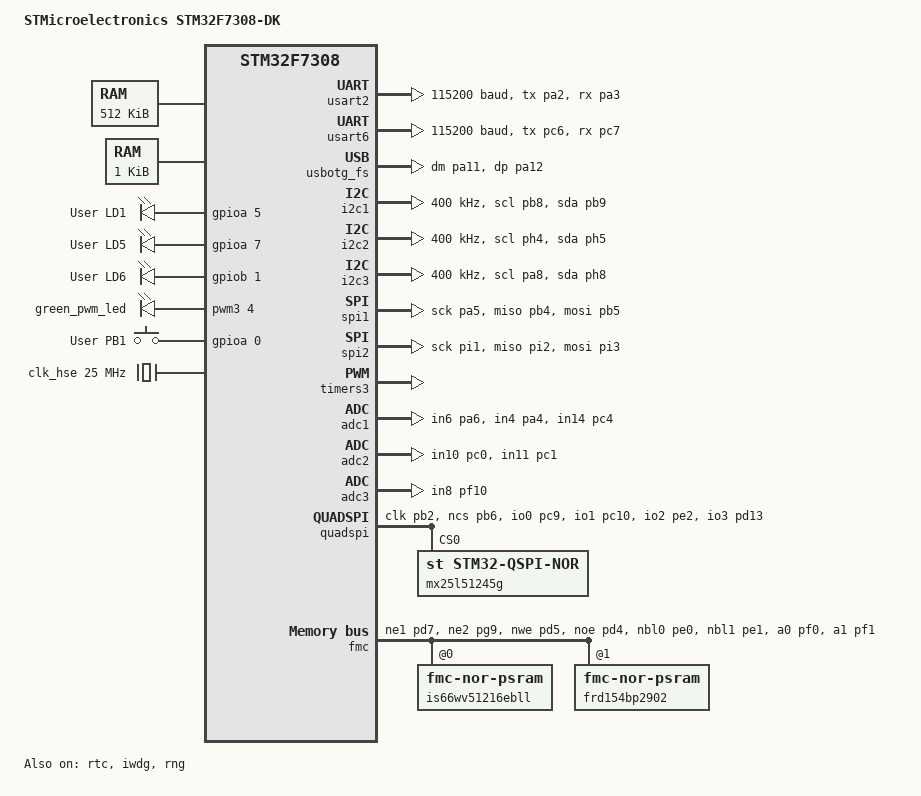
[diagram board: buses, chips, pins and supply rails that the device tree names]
/*
 * Copyright (c) 2023 TiaC Systems
 * SPDX-License-Identifier: Apache-2.0
 */

/dts-v1/;
#include <st/f7/stm32f730X8.dtsi>
#include <st/f7/stm32f730i8kx-pinctrl.dtsi>
#include <zephyr/dt-bindings/adc/adc.h>
#include <zephyr/dt-bindings/memory-attr/memory-attr.h>
#include <zephyr/dt-bindings/memory-attr/memory-attr-arm.h>
#include <zephyr/dt-bindings/input/input-event-codes.h>
#include <mem.h>
#include <freq.h>

/ {
	model = "STMicroelectronics STM32F7308-DK";
	compatible = "st,stm32f7308-dk";

	chosen {
		zephyr,console = &usart6;
		zephyr,shell-uart = &usart6;
		zephyr,usb-device = &usbotg_fs;
		zephyr,sram = &sram0;
		zephyr,flash = &flash0;
		zephyr,dtcm = &dtcm;
		zephyr,flash-controller = &mx25l51245g;
	}; // chosen

	// These aliases are provided for compatibility
	// with samples and tests.
	aliases {
		led0 = &blue_led;
		led1 = &red_led;
		led2 = &green_led;
		pwm-led0 = &green_pwm_led;
		sw0 = &user_button;
		spi-flash0 = &mx25l51245g;
	}; // aliases

	psram: memory@60000000 { /* FMC_NORSRAM_BANK1 */
		compatible = "zephyr,memory-region", "mmio-sram";
		device_type = "memory";
		reg = <0x60000000 DT_SIZE_K(512)>;
		zephyr,memory-region = "PSRAM";
		zephyr,memory-attr = <( DT_MEM_ARM(ATTR_MPU_RAM) )>;
	}; // psram

	lcdio: memory@64000000 { /* FMC_NORSRAM_BANK2 */
		compatible = "zephyr,memory-region", "mmio-sram";
		device_type = "memory";
		reg = <0x64000000 DT_SIZE_K(1)>;
		zephyr,memory-region = "LCDIO";
		zephyr,memory-attr = <( DT_MEM_ARM(ATTR_MPU_IO) )>;
	}; // lcdio

	leds {
		compatible = "gpio-leds";
		blue_led: blue_led {		/* ARD_D13_SPI1_SCK */
			gpios = <&gpioa 5 GPIO_ACTIVE_HIGH>;
			label = "User LD1";
		}; // blue_led
		red_led: red_led {		/* SYS_LD_USER1 */
			gpios = <&gpioa 7 GPIO_ACTIVE_HIGH>;
			label = "User LD5";
		}; // red_led
		green_led: green_led {		/* SYS_LD_USER2 */
			gpios = <&gpiob 1 GPIO_ACTIVE_HIGH>;
			label = "User LD6";
		}; // green_led
	}; // leds

	pwmleds {
		compatible = "pwm-leds";
		green_pwm_led: green_pwm_led {	/* SYS_LD_USER2 */
			pwms = <&pwm3 4 PWM_MSEC(20) PWM_POLARITY_NORMAL>;
		}; // green_pwm_led
	}; // pwmleds

	gpio_keys {
		compatible = "gpio-keys";
		user_button: user_button {	/* SYS_B_USER */
			gpios = <&gpioa 0 GPIO_ACTIVE_HIGH>;
			zephyr,code = <INPUT_KEY_0>;
			label = "User PB1";
		}; // user_button
	}; // gpio_keys
};

&clk_hse {
	clock-frequency = <DT_FREQ_M(25)>;
	status = "okay";
}; // clk_hse

&pll {
	div-m = <25>;
	mul-n = <432>;
	div-p = <2>;
	div-q = <9>;
	clocks = <&clk_hse>;
	status = "okay";
}; // pll

&rcc {
	clocks = <&pll>;
	clock-frequency = <DT_FREQ_M(216)>;
	ahb-prescaler = <1>;
	apb1-prescaler = <4>;
	apb2-prescaler = <2>;
}; // rcc

&clk_lsi {
	status = "okay";
}; // clk_lsi

&rtc {
	clocks = <&rcc STM32_CLOCK_BUS_APB1 0x10000000>,
		 <&rcc STM32_SRC_LSI RTC_SEL(2)>;
	status = "okay";
}; // rtc

&iwdg {
	status = "okay";
}; // iwdg

&rng {
	status = "okay";
}; // rng

&usart2 {
	status = "okay";		/* Arduino UART serial interface */
	pinctrl-names = "default";
	pinctrl-0 = <&usart2_tx_pa2	/* ARD_D1_USART2_TX */
		     &usart2_rx_pa3>;	/* ARD_D0_USART2_RX */
	current-speed = <115200>;
}; // usart2

&usart6 {
	status = "okay";		/* default system UART console */
	pinctrl-names = "default";
	pinctrl-0 = <&usart6_tx_pc6	/* VCP_TX_STLINK_RX */
		     &usart6_rx_pc7>;	/* VCP_RX_STLINK_TX */
	current-speed = <115200>;
}; // usart6

zephyr_udc0: &usbotg_fs {
	status = "okay";
	pinctrl-names = "default";
	pinctrl-0 = <&usb_otg_fs_dm_pa11	/* USB_OTGFS_N */
		     &usb_otg_fs_dp_pa12>;	/* USB_OTGFS_P */
}; // usbotg_fs

&usbotg_hs {
	status = "disabled";
	pinctrl-names = "default";
	pinctrl-0 = <&usb_otg_hs_dm_pb14	/* USB_OTGHS_N */
		     &usb_otg_hs_dp_pb15>;	/* USB_OTGHS_P */
	/*
	 * As long as USB 2.0 HS is not yet supported by this board
	 * and this node remains deactivated the maximum speed have
	 * to reduced from high to full speed, because otherwise the
	 * Kconfig symbol USB_DC_HAS_HS_SUPPORT would be set to true
	 * on USB_DC_STM32 in zephyr/drivers/usb/device/Kconfig and
	 * as an follow-up error the bulk endpoint size would be set
	 * to 512 (HS) instead of 64 (FS).
	 */
	maximum-speed = "full-speed";
}; // usbotg_hs

&i2c1 {
	status = "okay";		/* default system I2C */
	pinctrl-names = "default";
	pinctrl-0 = <&i2c1_scl_pb8	/* SAI2_I2C1_SCL */
		     &i2c1_sda_pb9>;	/* SAI2_I2C1_SDA */
	clock-frequency = <I2C_BITRATE_FAST>;
}; // i2c1

&i2c2 {
	status = "okay";		/* Arduino I2C interface */
	pinctrl-names = "default";
	pinctrl-0 = <&i2c2_scl_ph4	/* ARD_D15_STMOD+_I2C2_SCL */
		     &i2c2_sda_ph5>;	/* ARD_D14_STMOD+_I2C2_SDA */
	clock-frequency = <I2C_BITRATE_FAST>;
}; // i2c2

&i2c3 {
	status = "okay";		/* Control Touch Panel I2C interface */
	pinctrl-names = "default";
	pinctrl-0 = <&i2c3_scl_pa8	/* CTP_SCL */
		     &i2c3_sda_ph8>;	/* CTP_SDA */
	clock-frequency = <I2C_BITRATE_FAST>;
}; // i2c3

&spi1 {
	status = "okay";		/* Arduino SPI interface */
	pinctrl-names = "default";
	pinctrl-0 = <&spi1_sck_pa5	/* ARD_D13_SPI1_SCK */
		     &spi1_miso_pb4	/* ARD_D12_SPI1_MISO */
		     &spi1_mosi_pb5>;	/* ARD_D11_TIM3_CH2_SPI1_MOSI */
					/* ARD_D10_TIM2_CH2_SPI1_NSS */
	cs-gpios = <&gpioa 1 (GPIO_ACTIVE_LOW | GPIO_PULL_UP)>;
}; // spi1

&spi2 {
	status = "okay";		/* Pmod/STMod+ SPI interface */
	pinctrl-names = "default";
	pinctrl-0 = <&spi2_sck_pi1	/* PMOD_SPI2_SCK */
		     &spi2_miso_pi2	/* PMOD_SPI2_MISO */
		     &spi2_mosi_pi3>;	/* PMOD_SPI2_MOSI */
					/* PMOD_SPI2_NSS */
	cs-gpios = <&gpioi 0 (GPIO_ACTIVE_LOW | GPIO_PULL_UP)>;
}; // spi2

&timers3 {
	status = "okay";
	st,prescaler = <10000>;

	pwm3: pwm {
		status = "okay";
		pinctrl-names = "default";
		pinctrl-0 = <&tim3_ch4_pb1>;	/* SYS_LD_USER2 */
	}; // pwm3
}; // timers3

&adc1 {
	status = "okay";		/* Arduino ADC interface */
	pinctrl-names = "default";
	pinctrl-0 = <&adc1_in6_pa6	/* ARD_A0 */
		     &adc1_in4_pa4	/* ARD_A1 */
		     &adc1_in14_pc4>;	/* ARD_A2 */
	st,adc-clock-source = <SYNC>;	/* derived from the bus clock */
	st,adc-prescaler = <2>;
	vref-mv = <3300>;
}; // adc1

&adc2 {
	status = "okay";
	pinctrl-names = "default";
	pinctrl-0 = <&adc2_in10_pc0	/* ARD_A4 */
		     &adc2_in11_pc1>;	/* ARD_A5 */
	st,adc-clock-source = <SYNC>;	/* derived from the bus clock */
	st,adc-prescaler = <2>;
	vref-mv = <3300>;
}; // adc2

&adc3 {
	status = "okay";
	pinctrl-names = "default";
	pinctrl-0 = <&adc3_in8_pf10>;	/* ARD_A3_ADC3_IN8 */
	st,adc-clock-source = <SYNC>;	/* derived from the bus clock */
	st,adc-prescaler = <2>;
	vref-mv = <3300>;
}; // adc3

&quadspi {
	status = "okay";
	pinctrl-names = "default";
	pinctrl-0 =
		<&quadspi_clk_pb2	/* QSPI_CLK */
		 &quadspi_bk1_ncs_pb6	/* QSPI_NCS */
		 &quadspi_bk1_io0_pc9	/* QSPI_D0 */
		 &quadspi_bk1_io1_pc10	/* QSPI_D1 */
		 &quadspi_bk1_io2_pe2	/* QSPI_D2 */
		 &quadspi_bk1_io3_pd13>;/* QSPI_D3 */

	flash-id = <1>;

	mx25l51245g: qspi-nor-flash@0 {
		compatible = "st,stm32-qspi-nor";
		reg = <0>;
		qspi-max-frequency = <DT_FREQ_M(72)>;
		size = <DT_SIZE_M(64*8)>;
		status = "okay";

		spi-bus-width = <4>;	/* quad data SPI line: SIO[0123] used */
		writeoc = "PP_1_4_4";	/* quad data SPI line: PP 1-4-4, 0x38 */

		/* reset-cmd;		reset command on initialization */
		/* reset-cmd-wait = <10>;	... for about 10 us */
	}; // mx25l51245g
}; // quadspi

&fmc {
	status = "okay";
	pinctrl-names = "default";
	pinctrl-0 =
		<&fmc_ne1_pd7		/* PSRAM_NE1 - nCS1 (CS2) */
		 &fmc_ne2_pg9		/* LCD_NE - nCS */
		 &fmc_nwe_pd5		/* LCD_PSRAM_NWE - LCD:nWR/PSRAM:nWE */
		 &fmc_noe_pd4		/* LCD_PSRAM_NOE - LCD:nRD/PSRAM:nOE */
		 &fmc_nbl0_pe0		/* PSRAM_NBL0 - nLB */
		 &fmc_nbl1_pe1		/* PSRAM_NBL1 - nUB */
		 &fmc_a0_pf0		/* LCD-RS_A0 - LCD:RS/PSRAM_A0 - A0 */
		 &fmc_a1_pf1		/* PSRAM_A1 - A1 */
		 &fmc_a2_pf2		/* PSRAM_A2 - A2 */
		 &fmc_a3_pf3		/* PSRAM_A3 - A3 */
		 &fmc_a4_pf4		/* PSRAM_A4 - A4 */
		 &fmc_a5_pf5		/* PSRAM_A5 - A5 */
		 &fmc_a6_pf12		/* PSRAM_A6 - A6 */
		 &fmc_a7_pf13		/* PSRAM_A7 - A7 */
		 &fmc_a8_pf14		/* PSRAM_A8 - A8 */
		 &fmc_a9_pf15		/* PSRAM_A9 - A9 */
		 &fmc_a10_pg0		/* PSRAM_A10 - A10 */
		 &fmc_a11_pg1		/* PSRAM_A11 - A11 */
		 &fmc_a12_pg2		/* PSRAM_A12 - A12 */
		 &fmc_a13_pg3		/* PSRAM_A13 - A13 */
		 &fmc_a14_pg4		/* PSRAM_A14 - A14 */
		 &fmc_a15_pg5		/* PSRAM_A15 - A15 */
		 &fmc_a16_pd11		/* PSRAM_A16 - A16 */
		 &fmc_a17_pd12		/* PSRAM_A17 - A17 */
					/* GND - A18 */
		 &fmc_d0_pd14		/* LCD_PSRAM_D0 */
		 &fmc_d1_pd15		/* LCD_PSRAM_D1 */
		 &fmc_d2_pd0		/* LCD_PSRAM_D2 */
		 &fmc_d3_pd1		/* LCD_PSRAM_D3 */
		 &fmc_d4_pe7		/* LCD_PSRAM_D4 */
		 &fmc_d5_pe8		/* LCD_PSRAM_D5 */
		 &fmc_d6_pe9		/* LCD_PSRAM_D6 */
		 &fmc_d7_pe10		/* LCD_PSRAM_D7 */
		 &fmc_d8_pe11		/* LCD_PSRAM_D8 */
		 &fmc_d9_pe12		/* LCD_PSRAM_D9 */
		 &fmc_d10_pe13		/* LCD_PSRAM_D10 */
		 &fmc_d11_pe14		/* LCD_PSRAM_D11 */
		 &fmc_d12_pe15		/* LCD_PSRAM_D12 */
		 &fmc_d13_pd8		/* LCD_PSRAM_D13 */
		 &fmc_d14_pd9		/* LCD_PSRAM_D14 */
		 &fmc_d15_pd10>;	/* LCD_PSRAM_D15 */

	nor-psram {
		status = "okay";

		is66wv51216ebll: fmc-nor-psram@0 {
			reg = <0>; /* FMC_NORSRAM_BANK1 */
			st,control = <STM32_FMC_DATA_ADDRESS_MUX_DISABLE
				      STM32_FMC_MEMORY_TYPE_SRAM
				      /* STM32_FMC_MEMORY_TYPE_PSRAM */
				      STM32_FMC_NORSRAM_MEM_BUS_WIDTH_16
				      STM32_FMC_BURST_ACCESS_MODE_DISABLE
				      STM32_FMC_WAIT_SIGNAL_POLARITY_LOW
				      STM32_FMC_WAIT_TIMING_BEFORE_WS
				      STM32_FMC_WRITE_OPERATION_ENABLE
				      STM32_FMC_WAIT_SIGNAL_DISABLE
				      STM32_FMC_EXTENDED_MODE_DISABLE
				      STM32_FMC_ASYNCHRONOUS_WAIT_DISABLE
				      STM32_FMC_WRITE_BURST_DISABLE
				      STM32_FMC_CONTINUOUS_CLOCK_SYNC_ONLY
				      STM32_FMC_WRITE_FIFO_DISABLE
				      STM32_FMC_PAGE_SIZE_NONE>;
			st,timing = <9 2 6 1 2 2 STM32_FMC_ACCESS_MODE_A>;
		}; // is66wv51216ebll

		frd154bp2902: fmc-nor-psram@1 {
			reg = <1>; /* FMC_NORSRAM_BANK2 */
			st,control = <STM32_FMC_DATA_ADDRESS_MUX_DISABLE
				      STM32_FMC_MEMORY_TYPE_SRAM
				      STM32_FMC_NORSRAM_MEM_BUS_WIDTH_16
				      STM32_FMC_BURST_ACCESS_MODE_DISABLE
				      STM32_FMC_WAIT_SIGNAL_POLARITY_LOW
				      STM32_FMC_WAIT_TIMING_BEFORE_WS
				      STM32_FMC_WRITE_OPERATION_ENABLE
				      STM32_FMC_WAIT_SIGNAL_DISABLE
				      STM32_FMC_EXTENDED_MODE_DISABLE
				      STM32_FMC_ASYNCHRONOUS_WAIT_DISABLE
				      STM32_FMC_WRITE_BURST_DISABLE
				      STM32_FMC_CONTINUOUS_CLOCK_SYNC_ONLY
				      STM32_FMC_WRITE_FIFO_DISABLE
				      STM32_FMC_PAGE_SIZE_NONE>;
			st,timing = <9 2 6 1 2 2 STM32_FMC_ACCESS_MODE_A>;
		}; // frd154bp2902
	}; // nor-psram
}; // fmc

#include "arduino_r3_connector.dtsi"
